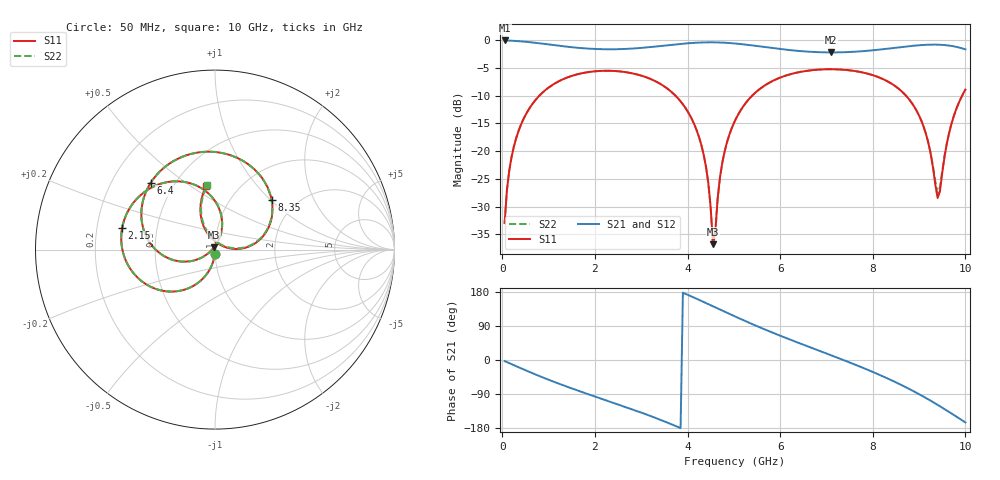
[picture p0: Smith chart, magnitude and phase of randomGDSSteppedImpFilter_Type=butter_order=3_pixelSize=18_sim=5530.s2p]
! freq	dB(S11)	phase(S11)	dB(S12)	phase(S12)
!  dB(S21)	phase(S21)	dB(S22)	phase(S22)
!S-par simulation data
#  GHz  S  DB  R 50
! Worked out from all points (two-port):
!   200 points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, 50 MHz to 10 GHz, reference 50 ohm
!   highest |S21| = -0.01 dB at 50 MHz (marker M1); lowest = -2.2 dB at 7.1 GHz (marker M2)
!   |S21| within 3 dB of the highest: start of sweep to end of sweep
!   lowest |S11| = -36.8 dB at 4.55 GHz (marker M3), VSWR 1.03, Z = 49.4 + j1.32 ohm
!   |S11| at or under -10 dB: start of sweep to 798.6 MHz; 3.742 GHz to 5.393 GHz (1.652 GHz wide, 36.2 % of centre); 8.719 GHz to 9.929 GHz (1.21 GHz wide, 13 % of centre)
!   |S22| runs from -37.2 to -5.2 dB; largest |S21 - S12| = 0
!   S11 on the Smith chart (normalised r, x): 50 MHz: 1.00, -0.04; 2.15 GHz: 0.31, +0.10; 6.4 GHz: 0.37, +0.37; 8.35 GHz: 1.51, +1.02; 10 GHz: 0.71, +0.58
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0.05  -33.00 -92.8  -0.01 -2.8  -0.01 -2.8  -33.00 -92.8
0.2  -21.06 -101.4  -0.05 -11.0  -0.05 -11.0  -21.06 -101.4
0.5  -13.50 -117.5  -0.24 -27.0  -0.24 -27.0  -13.50 -117.5
1.1  -7.95 -147.3  -0.83 -56.9  -0.83 -56.9  -7.95 -147.3
1.75  -5.87 -176.3  -1.42 -85.8  -1.42 -85.8  -5.87 -176.3
2.15  -5.50 167.0  -1.59 -102.5  -1.59 -102.5  -5.50 166.9
3.4  -7.79 113.1  -1.03 -157.2  -1.03 -157.2  -7.79 113.1
4.25  -17.51 72.8  -0.39 158.6  -0.39 158.6  -17.51 72.6
4.45  -25.84 70.1  -0.34 147.4  -0.34 147.4  -25.86 69.4
4.55  -36.83 112.5  -0.34 141.7  -0.34 141.7  -37.16 111.4
4.75  -22.12 -149.0  -0.39 130.4  -0.39 130.4  -22.14 -148.5
5.05  -14.06 -160.4  -0.57 113.6  -0.57 113.6  -14.07 -160.2
5.65  -8.23 169.6  -1.18 81.6  -1.18 81.6  -8.23 169.7
6.4  -5.75 134.1  -1.90 45.1  -1.90 45.1  -5.75 134.2
6.7  -5.36 120.4  -2.07 31.1  -2.07 31.1  -5.36 120.6
7.1  -5.20 102.3  -2.16 12.5  -2.16 12.5  -5.20 102.4
7.75  -5.73 71.7  -1.96 -18.7  -1.96 -18.7  -5.73 72.0
8.35  -7.54 41.3  -1.47 -50.4  -1.47 -50.4  -7.54 41.6
9.05  -14.53 4.9  -0.84 -93.5  -0.84 -93.5  -14.51 6.0
9.4  -28.47 50.0  -0.76 -118.3  -0.76 -118.3  -27.60 51.0
9.65  -16.68 116.0  -0.93 -137.2  -0.93 -137.2  -16.60 114.3
10  -8.88 97.6  -1.61 -164.7  -1.61 -164.7  -8.87 96.9
